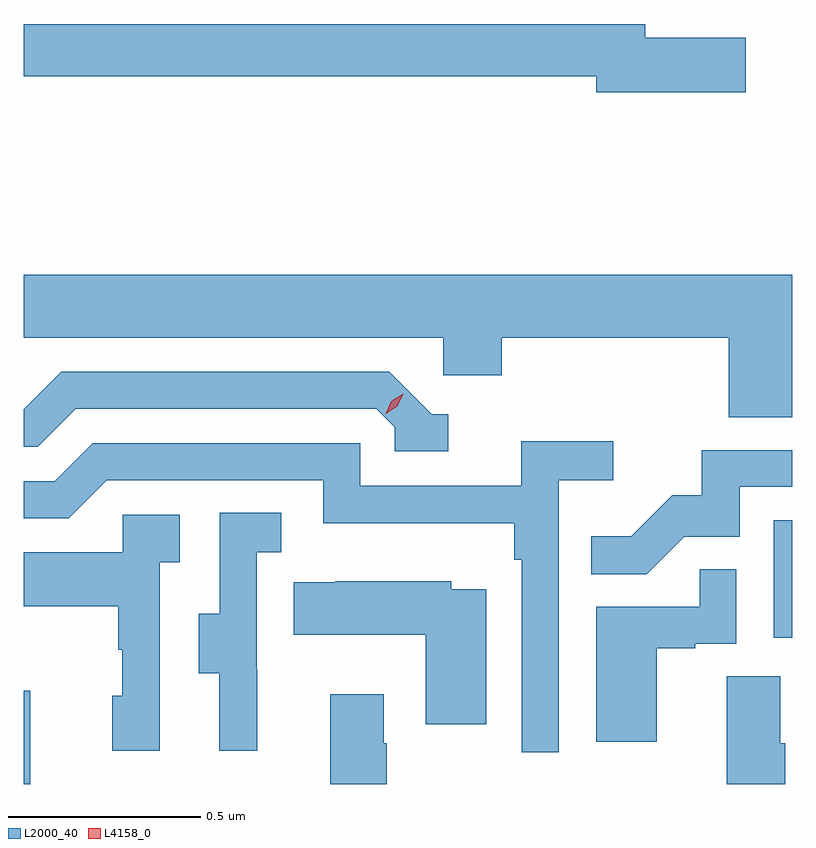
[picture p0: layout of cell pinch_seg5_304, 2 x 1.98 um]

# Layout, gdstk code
import gdstk
lib = gdstk.Library(unit=1e-6, precision=1e-09)
def R(c, l, rs):  # rectangles x0, y0, x1, y1
    for r in rs: c.add(gdstk.rectangle(r[:2], r[2:], *l))
def P(c, l, *ps):  # polygons
    for p in ps: c.add(gdstk.Polygon(p, *l))
L2000_40 = (2000, 40)
L4158_0 = (4158, 0)

pinch_seg5_304 = lib.new_cell('pinch_seg5_304')
R(pinch_seg5_304, L2000_40, [(902.67,878.242,902.687,878.485), (904.622,878.622,904.67,878.929)])
P(pinch_seg5_304, L2000_40, [(904.549,880.184),(904.288,880.184),(904.288,880.22),(902.67,880.22),(902.67,880.084),(904.16,880.084),(904.16,880.042),(904.549,880.042)],
  [(904.67,879.568),(902.67,879.568),(902.67,879.404),(903.762,879.404),(903.762,879.306),(903.914,879.306),(903.914,879.404),(904.505,879.404),(904.505,879.196),(904.67,879.196)],
  [(903.775,879.204),(903.732,879.204),(903.621,879.315),(902.768,879.315),(902.67,879.217),(902.67,879.12),(902.706,879.12),(902.805,879.219),(903.588,879.219),(903.636,879.171),(903.636,879.108),(903.775,879.108)],
  [(904.062,879.032),(904.204,879.032),(904.204,879.134),(903.965,879.134),(903.965,879.018),(903.546,879.018),(903.546,879.129),(902.849,879.129),(902.75,879.03),(902.67,879.03),(902.67,878.934),(902.787,878.934),(902.886,879.033),(903.45,879.033),(903.45,878.921),(903.946,878.921),(903.946,878.825),(903.966,878.825),(903.966,878.325),(904.062,878.325)],
  [(904.389,878.886),(904.533,878.886),(904.533,879.015),(904.67,879.015),(904.67,879.111),(904.435,879.111),(904.435,878.994),(904.358,878.994),(904.251,878.887),(904.147,878.887),(904.147,878.788),(904.291,878.788)],
  [(903.278,878.541),(903.276,878.541),(903.276,878.845),(903.34,878.845),(903.34,878.948),(903.18,878.948),(903.18,878.685),(903.125,878.685),(903.125,878.53),(903.179,878.53),(903.179,878.328),(903.278,878.328)],
  [(903.024,878.819),(903.076,878.819),(903.076,878.943),(902.928,878.943),(902.928,878.845),(902.67,878.845),(902.67,878.705),(902.916,878.705),(902.916,878.591),(902.926,878.591),(902.926,878.472),(902.9,878.472),(902.9,878.328),(903.024,878.328)],
  [(904.318,878.595),(904.418,878.595),(904.418,878.607),(904.524,878.607),(904.524,878.801),(904.429,878.801),(904.429,878.703),(904.16,878.703),(904.16,878.352),(904.318,878.352)],
  [(903.874,878.749),(903.783,878.749),(903.783,878.77),(903.481,878.77),(903.481,878.767),(903.373,878.767),(903.373,878.63),(903.716,878.63),(903.716,878.397),(903.874,878.397)],
  [(904.652,878.348),(904.639,878.348),(904.639,878.522),(904.499,878.522),(904.499,878.242),(904.652,878.242)],
  [(903.615,878.348),(903.607,878.348),(903.607,878.476),(903.467,878.476),(903.467,878.242),(903.615,878.242)])
P(pinch_seg5_304, L4158_0, [(903.612,879.205),(903.612,879.206),(903.627,879.238),(903.657,879.258),(903.658,879.258),(903.658,879.258),(903.642,879.225),(903.612,879.205)])

lib.write_gds('pinch_seg5_304.gds')
